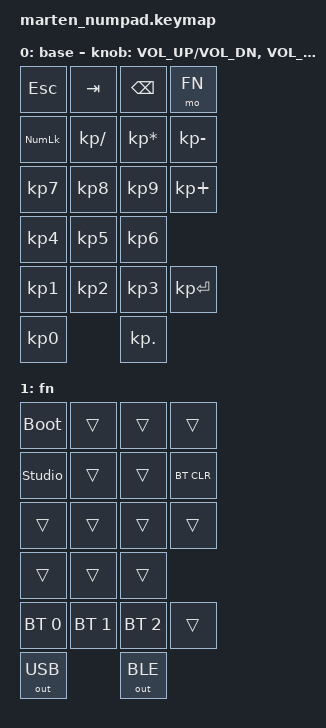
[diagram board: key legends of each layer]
#include <behaviors.dtsi>
#include <dt-bindings/zmk/keys.h>
#include <dt-bindings/zmk/bt.h>
#include <dt-bindings/zmk/outputs.h>

// Key code aliases (for better keymap alignment)
#define KP_DIV KP_DIVIDE
#define KP_MULT KP_MULTIPLY

// Layers
#define DEFAULT 0
#define FN 1

/ {
    keymap {
        compatible = "zmk,keymap";
        display-name = "base";

        default_layer {
            display-name = "base";

            bindings = <
            &kp ESC     &kp TAB     &kp BKSP     &mo FN
            &kp KP_NUM  &kp KP_DIV  &kp KP_MULT  &kp KP_MINUS
            &kp KP_N7   &kp KP_N8   &kp KP_N9    &kp KP_PLUS
            &kp KP_N4   &kp KP_N5   &kp KP_N6
            &kp KP_N1   &kp KP_N2   &kp KP_N3    &kp KP_ENTER
            &kp KP_N0               &kp KP_DOT
            >;

            sensor-bindings = <
            &inc_dec_kp C_VOL_UP C_VOL_DN
            &inc_dec_kp C_VOL_UP C_VOL_DN
            >;
        };

        fn_layer {
            display-name = "fn";

            bindings = <
            &bootloader     &trans        &trans        &trans
            &studio_unlock  &trans        &trans        &bt BT_CLR
            &trans          &trans        &trans        &trans
            &trans          &trans        &trans
            &bt BT_SEL 0    &bt BT_SEL 1  &bt BT_SEL 2  &trans
            &out OUT_USB                  &out OUT_BLE
            >;
        };

        layer_3 { status = "reserved"; };
        layer_4 { status = "reserved"; };
        layer_5 { status = "reserved"; };
        layer_6 { status = "reserved"; };
        layer_7 { status = "reserved"; };
        layer_8 { status = "reserved"; };
        layer_9 { status = "reserved"; };
        layer_10 { status = "reserved"; };
    };

    sensors {
        compatible = "zmk,keymap-sensors";
        sensors = <&left_encoder &right_encoder>;

        left_encoder {
            triggers-per-rotation = <30>;
        };

        right_encoder {
            triggers-per-rotation = <30>;
        };
    };
};
